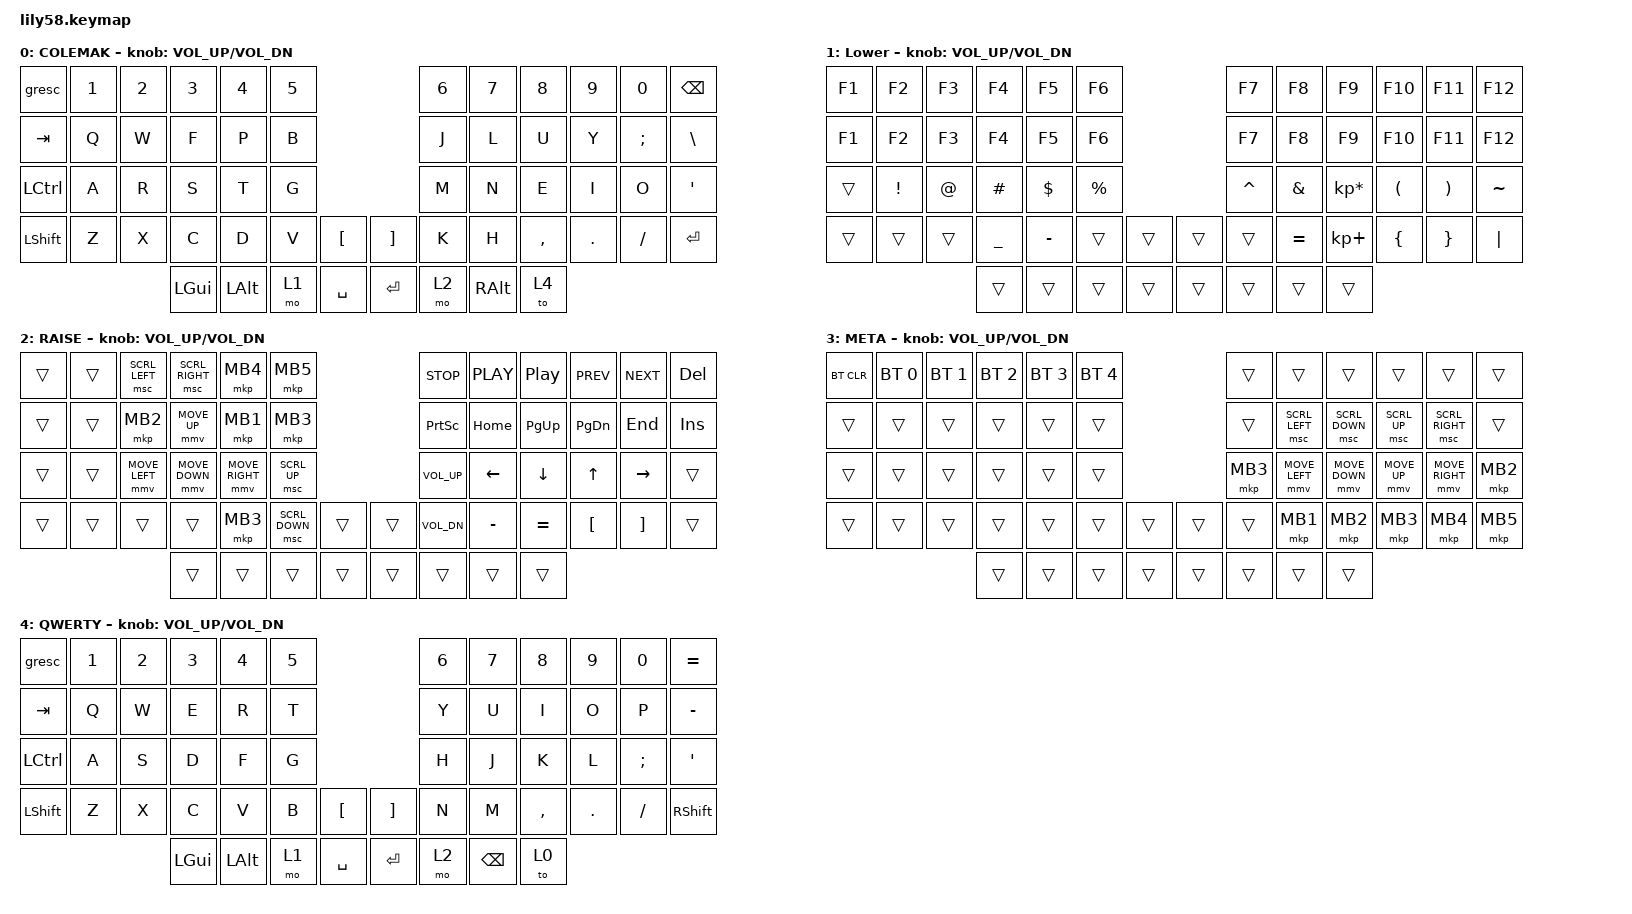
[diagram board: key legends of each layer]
/*
 * Copyright (c) 2020 The ZMK Contributors
 *
 * SPDX-License-Identifier: MIT
 */
#define ZMK_POINTING_DEFAULT_MOVE_VAL 1200  // default: 600
#define ZMK_POINTING_DEFAULT_SCRL_VAL 20    // default: 10

#include <behaviors.dtsi>
#include <dt-bindings/zmk/keys.h>
#include <dt-bindings/zmk/bt.h>
#include <dt-bindings/zmk/ext_power.h>
#include <dt-bindings/zmk/pointing.h>


/ {
    behaviors {
        bspc_del: BACKSPACE_DELETE {
            compatible = "zmk,behavior-mod-morph";
            label = "BACKSPACE_DELETE";
            bindings = <&kp BACKSPACE>, <&kp DELETE>;

            #binding-cells = <0>;
            mods = <(MOD_LSFT|MOD_RSFT)>;
            keep-mods = <(MOD_RSFT)>;
        };
    };

    conditional_layers {
        compatible = "zmk,conditional-layers";
        tri_layer {
            if-layers = <1 2>;
            then-layer = <3>;
        };
    };

    keymap {
        compatible = "zmk,keymap";

        default_layer {
// -----------------------------------------------------------------------------------------------------------
// |  ESC  |  1  |  2  |  3   |  4   |  5  |                   |  6   |  7    |  8    |  9   |   0   | BSPC  |
// |  TAB  |  Q  |  W  |  F   |  P   |  B  |                   |  J   |  L    |  U    |  Y   |   ;   | BSLH  |
// |  CTRL |  A  |  R  |  S   |  T   |  G  |                   |  M   |  N    |  E    |  I   |   O   |   '   |
// | SHIFT |  Z  |  X  |  C   |  D   |  V  |   "["  |  |  "]"  |  K   |  H    |  ,    |  .   |   /   | RET   |
//                     | GUI  | ALT  | LWR |  SPACE |  | SPACE | RSE  | RALT  | LAYOUT |

            display-name = "COLEMAK";
            bindings = <
&gresc     &kp N1  &kp N2  &kp N3    &kp N4    &kp N5                          &kp N6   &kp N7   &kp N8     &kp N9   &kp N0    &kp BSPC
&kp TAB    &kp Q   &kp W   &kp F     &kp P     &kp B                           &kp J    &kp L    &kp U      &kp Y    &kp SEMI  &kp BSLH
&kp LCTRL  &kp A   &kp R   &kp S     &kp T     &kp G                           &kp M    &kp N    &kp E      &kp I    &kp O     &kp SQT
&kp LSHFT  &kp Z   &kp X   &kp C     &kp D     &kp V    &kp LBKT     &kp RBKT  &kp K    &kp H    &kp COMMA  &kp DOT  &kp FSLH  &kp RET
                           &kp LGUI  &kp LALT  &mo 1    &kp SPACE    &kp RET   &mo 2    &kp RALT &to 4
            >;

            sensor-bindings = <&inc_dec_kp C_VOL_UP C_VOL_DN>;
        };


        lower_layer {
// --------------------------------------------------------------------------------------------------------------
// |   F1  |  F2   | F3  |  F4  |  F5  |  F6  |                   |  F7  |  F8   |  F9  |  F10  |  F11  |  F12  |
// |   F13 |  F14  | F15 |  F16 |  F17 |  F18 |                   |  F19 |  F20  |  F21 |  F22  |  F23  |  F24  |
// |       |  !    |  @  |  #   |  $   |  %   |                   |  ^   |  &    |  *    |  (   |   )   |   ~   |
// |       |       |     |  _   |  -   |      |        |  |       |      |  =    |  +    |  {   |   }   |  "|"  |
//                       |      |      |      |        |  |       |      |       |       |
            display-name = "Lower";
            bindings = <
&kp F1      &kp F2        &kp F3        &kp F4        &kp F5        &kp F6                       &kp F7     &kp F8     &kp F9           &kp F10   &kp F11   &kp F12
&kp F1      &kp F2        &kp F3        &kp F4        &kp F5        &kp F6                       &kp F7     &kp F8     &kp F9           &kp F10   &kp F11   &kp F12
&trans      &kp EXCL      &kp AT        &kp HASH      &kp DOLLAR    &kp PRCNT                    &kp CARET  &kp AMPS   &kp KP_MULTIPLY  &kp LPAR  &kp RPAR  &kp TILDE
&trans      &trans        &trans        &kp UNDER     &kp MINUS     &trans     &trans    &trans  &trans     &kp EQUAL  &kp KP_PLUS      &kp LBRC  &kp RBRC  &kp PIPE
                                        &trans        &trans        &trans     &trans    &trans  &trans     &trans     &trans
            >;

            sensor-bindings = <&inc_dec_kp C_VOL_UP C_VOL_DN>;
        };

        raise_layer {
// --------------------------------------------------------------------------------------------------------
// |   |   |  MSL |  MSR  |  M_4  | M_5 |                    | STOP |  PLAY | PP   | PREV |  NEXT |  DEL  |
// |   |   |  M_2 |  M_U  |  M_1  | M_3 |                    | PRSC |  HOME | PGDN | PGUP |  END  |  INS  |
// |   |   |  M_L |  M_D  |  M_R  | MSU |                    | VUP  |   <-  |  v   |  ^   |  ->   |       |
// |   |   |      |       |       | MSD |       |    |       | VDN  |   -   |  =   |  [   |   ]   |       |
//                |       |       |     |       |    |       |      |       |      |
            display-name = "RAISE";
            bindings = <
&trans  &trans  &msc SCRL_LEFT &msc SCRL_RIGHT &mkp MB4        &mkp MB5                   &kp C_STOP   &kp C_PLAY &kp C_PP   &kp C_PREV &kp C_NEXT &kp DEL
&trans  &trans  &mkp MB2       &mmv MOVE_UP    &mkp MB1        &mkp MB3                   &kp PSCRN    &kp HOME   &kp PG_UP  &kp PG_DN  &kp END    &kp INS
&trans  &trans  &mmv MOVE_LEFT &mmv MOVE_DOWN  &mmv MOVE_RIGHT &msc SCRL_UP               &kp K_VOL_UP &kp LEFT   &kp DOWN   &kp UP     &kp RIGHT  &trans
&trans  &trans  &trans         &trans          &mkp MB3        &msc SCRL_DOWN  &trans     &trans  &kp K_VOL_DN &kp MINUS  &kp EQUAL  &kp LBKT   &kp RBKT   &trans
                               &trans          &trans          &trans          &trans     &trans  &trans       &trans     &trans
            >;

            sensor-bindings = <&inc_dec_kp C_VOL_UP C_VOL_DN>;
        };

        META_layer {
// --------------------------------------------------------------------------------------------------------
// | BTCLR | BT1   | BT2 |  BT3 |  BT4 |  BT5 |                   |     |      |     |      |      |      |
// |       |       |     |      |      |      |                   |     |  MSL | MSD | MSU  | MSR  |      |
// |       |       |     |      |      |      |                   | M_3 |  M_L | M_D | M_U  | M_R  |  M_2 |
// |       |       |     |      |      |      |        |  |       |     |  M_1 | M_2 | M_3  | M_4  |  M_5 |
//                       |      |      |      |        |  |       |     |       |      |
            display-name = "META";
            bindings = <
&bt BT_CLR  &bt BT_SEL 0  &bt BT_SEL 1  &bt BT_SEL 2  &bt BT_SEL 3  &bt BT_SEL 4                  &trans      &trans         &trans          &trans        &trans          &trans
&trans      &trans        &trans        &trans        &trans        &trans                        &trans      &msc SCRL_LEFT &msc SCRL_DOWN  &msc SCRL_UP  &msc SCRL_RIGHT &trans
&trans      &trans        &trans        &trans        &trans        &trans                        &mkp MB3    &mmv MOVE_LEFT &mmv MOVE_DOWN  &mmv MOVE_UP  &mmv MOVE_RIGHT &mkp MB2
&trans      &trans        &trans        &trans        &trans        &trans        &trans  &trans  &trans      &mkp MB1       &mkp MB2        &mkp MB3      &mkp MB4        &mkp MB5
                                        &trans        &trans        &trans        &trans  &trans  &trans      &trans        &trans
            >;

            sensor-bindings = <&inc_dec_kp C_VOL_UP C_VOL_DN>;
        };

        qwerty_layer {

// ----------------------------------------------------------------------------------------------------------
// |  ESC  |  1  |  2  |  3   |  4   |  5  |                   |  6   |  7   |  8    |  9   |   0   |   =   |
// |  TAB  |  Q  |  W  |  E   |  R   |  T  |                   |  Y   |  U   |  I    |  O   |   P   |   -   |
// |  CTRL |  A  |  S  |  D   |  F   |  G  |                   |  H   |  J   |  K    |  L   |   ;   |   '   |
// | SHIFT |  Z  |  X  |  C   |  V   |  B  |   "["  |  |  "]"  |  N   |  M   |  ,    |  .   |   /   | RET   |
//                     | GUI  | ALT  | LWR |  SPACE |  | ENTER |  RSE | BSPC | LAYOUT |

            display-name = "QWERTY";
            bindings = <
&gresc     &kp N1  &kp N2  &kp N3    &kp N4    &kp N5                          &kp N6   &kp N7   &kp N8     &kp N9   &kp N0    &kp EQUAL
&kp TAB    &kp Q   &kp W   &kp E     &kp R     &kp T                           &kp Y    &kp U    &kp I      &kp O    &kp P     &kp MINUS
&kp LCTRL  &kp A   &kp S   &kp D     &kp F     &kp G                           &kp H    &kp J    &kp K      &kp L    &kp SEMI  &kp SQT
&kp LSHFT  &kp Z   &kp X   &kp C     &kp V     &kp B   &kp LBKT     &kp RBKT   &kp N    &kp M    &kp COMMA  &kp DOT  &kp FSLH  &kp RSHFT
                           &kp LGUI  &kp LALT  &mo 1   &kp SPACE    &kp RET    &mo 2    &kp BSPC &to 0
            >;

            sensor-bindings = <&inc_dec_kp C_VOL_UP C_VOL_DN>;
        };

        extra_1 {
            status = "reserved";
        };

        extra_2 {
            status = "reserved";
        };

        extra_3 {
            status = "reserved";
        };
    };
};
